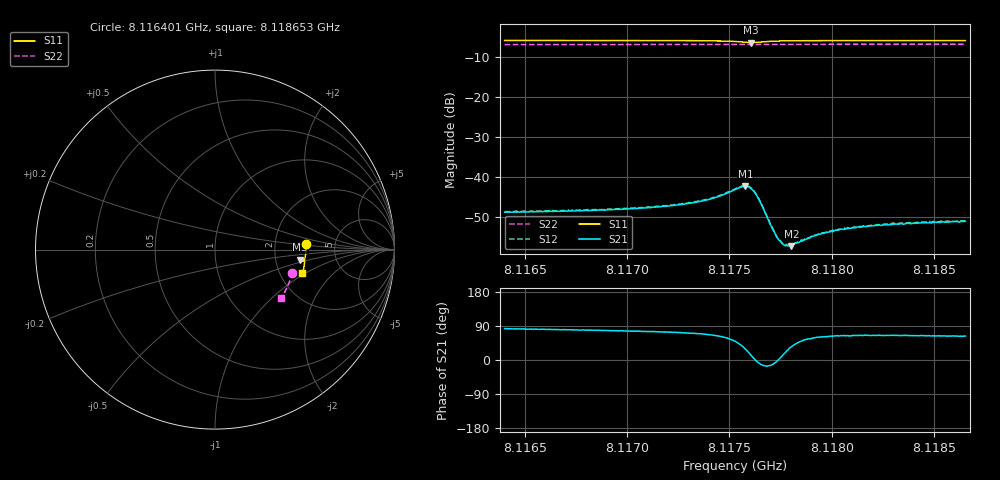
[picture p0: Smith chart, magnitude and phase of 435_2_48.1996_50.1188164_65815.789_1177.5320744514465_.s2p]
#  HZ  S  RI  R  50.00
! Rohde & Schwarz Vector Network Analyzer
! Rohde-Schwarz,ZNB20-2Port,1311601062101988,3.16
! Created: UTC 3/20/2024, 11:55:36 AM
! freq[Hz]  re:S11  im:S11  re:S21  im:S21  re:S12  im:S12  re:S22  im:S22
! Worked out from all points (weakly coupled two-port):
!   401 points, 8.116401 GHz to 8.118653 GHz, reference 50 ohm
!   highest |S21| = -42.46 dB at 8.117578 GHz (marker M1); lowest = -57.4 dB at 8.117803 GHz (marker M2)
!   lowest |S11| = -6.4 dB at 8.117606 GHz (marker M3), VSWR 2.83, Z = 138 - j19.8 ohm
!   |S11| at or under -10 dB: nowhere
!   |S22| runs from -6.9 to -6.8 dB; largest |S21 - S12| = 0.00021
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8.1164009e9  0.5063 0.0289  0.000445 0.00355  0.000489 0.00359  0.4312 -0.1283
8.1167782e9  0.5067 0.000124  0.00072 0.00368  0.000759 0.00377  0.4241 -0.1536
8.1171555e9  0.5049 -0.0298  0.00112 0.00402  0.0012 0.00409  0.4152 -0.1784
8.1172963e9  0.5031 -0.0419  0.00148 0.00435  0.00155 0.00439  0.4115 -0.1876
8.1173808e9  0.5009 -0.0499  0.00186 0.00466  0.00198 0.00476  0.4091 -0.193
8.1174484e9  0.4978 -0.0571  0.00258 0.00504  0.00267 0.0051  0.4071 -0.1977
8.1175272e9  0.4888 -0.0648  0.00446 0.00523  0.0046 0.0053  0.4045 -0.2026
8.1175779e9  0.4775 -0.0629  0.00661 0.00362  0.00678 0.00369  0.4026 -0.2054
8.117606e9  0.4742 -0.0555  0.0069 0.00149  0.0071 0.00142  0.4017 -0.2067
8.1176229e9  0.4759 -0.0505  0.00633 0.000234  0.00648 0.000165  0.4014 -0.2075
8.1176455e9  0.4812 -0.0465  0.00501 -0.000755  0.00511 -0.000821  0.401 -0.2087
8.1177074e9  0.4936 -0.0505  0.00223 -0.000509  0.00229 -0.000555  0.3998 -0.2128
8.1177243e9  0.4953 -0.0526  0.00187 -0.000244  0.00194 -0.000274  0.3992 -0.2139
8.1177412e9  0.4965 -0.0549  0.0016 3.49e-05  0.00162 3.37e-05  0.3988 -0.215
8.1177693e9  0.4979 -0.0587  0.00131 0.000422  0.00138 0.000436  0.3981 -0.2169
8.1178031e9  0.4988 -0.0626  0.0011 0.000769  0.00118 0.000798  0.3971 -0.219
8.1179045e9  0.499 -0.073  0.000954 0.0015  0.00102 0.0015  0.3939 -0.2255
8.117989e9  0.4984 -0.0807  0.000936 0.00181  0.000997 0.00182  0.3911 -0.2308
8.1180453e9  0.4977 -0.0853  0.000943 0.00198  0.000962 0.00197  0.3892 -0.2343
8.1181185e9  0.4968 -0.0914  0.00097 0.00207  0.00101 0.00211  0.3867 -0.2388
8.1182818e9  0.4944 -0.1041  0.00107 0.00228  0.00112 0.00232  0.3809 -0.2487
8.1186535e9  0.4874 -0.1318  0.00124 0.00245  0.00129 0.00251  0.367 -0.2709
